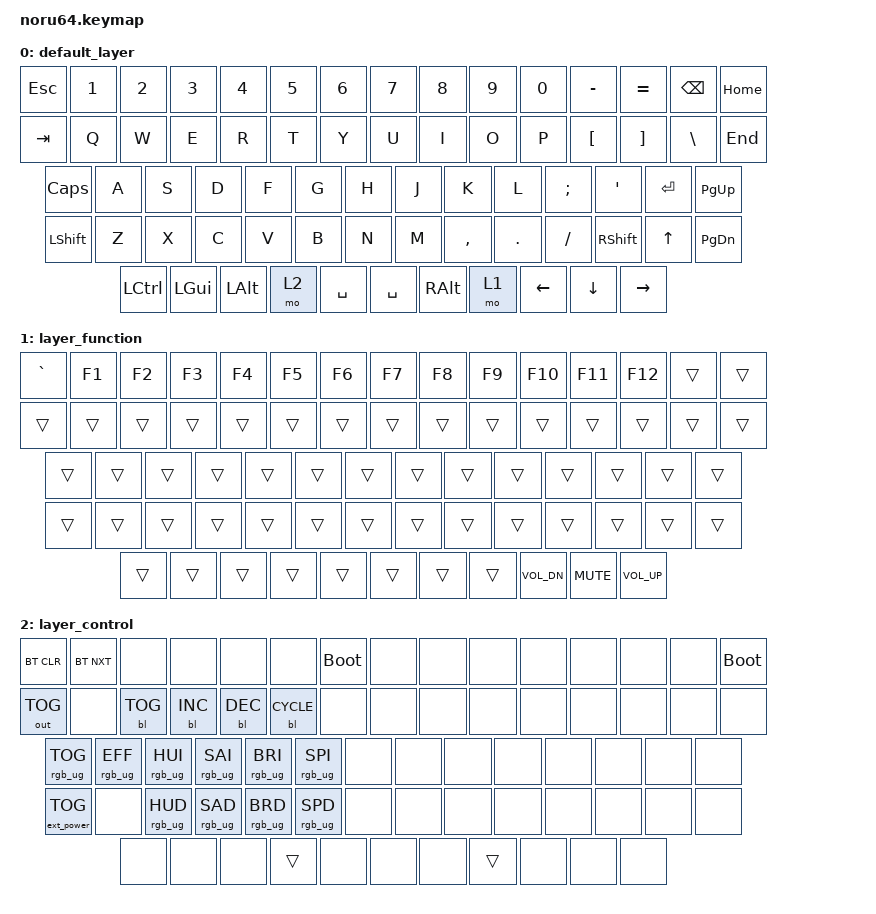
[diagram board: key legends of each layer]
/*
# Copyright (c) 2021 The ZMK Contributors
*
* SPDX-License-Identifier: MIT
*/

#include <behaviors.dtsi>
#include <dt-bindings/zmk/keys.h>
#include <dt-bindings/zmk/bt.h>
#include <dt-bindings/zmk/outputs.h>
#include <dt-bindings/zmk/backlight.h>
#include <dt-bindings/zmk/rgb.h>
#include <dt-bindings/zmk/ext_power.h>

/ {
    keymap {
        compatible = "zmk,keymap";


        default_layer {
            bindings = <
   &kp ESC    &kp N1    &kp N2  &kp N3  &kp N4  &kp N5     &kp N6  &kp N7     &kp N8     &kp N9    &kp N0  &kp MINUS  &kp EQUAL             &kp BSPC   &kp HOME
   &kp TAB     &kp Q     &kp W   &kp E   &kp R              &kp T   &kp Y      &kp U      &kp I     &kp O      &kp P   &kp LBKT   &kp RBKT  &kp BSLH    &kp END
  &kp CAPS     &kp A     &kp S   &kp D           &kp F      &kp G   &kp H      &kp J      &kp K     &kp L   &kp SEMI    &kp SQT              &kp RET  &kp PG_UP
 &kp LSHFT               &kp Z   &kp X   &kp C   &kp V      &kp B   &kp N      &kp M  &kp COMMA   &kp DOT              &kp FSLH  &kp RSHFT    &kp UP  &kp PG_DN
 &kp LCTRL  &kp LGUI  &kp LALT   &mo 2                  &kp SPACE          &kp SPACE             &kp RALT      &mo 1              &kp LEFT  &kp DOWN  &kp RIGHT
            >;
        };

        layer_function {
            bindings = <
 &kp GRAVE  &kp F1  &kp F2  &kp F3  &kp F4  &kp F5  &kp F6  &kp F7  &kp F8  &kp F9  &kp F10  &kp F11  &kp F12          &trans  &trans
    &trans  &trans  &trans  &trans   &trans           &trans   &trans   &trans   &trans    &trans    &trans    &trans   &trans  &trans  &trans
    &trans  &trans  &trans  &trans          &trans  &trans   &trans   &trans   &trans    &trans    &trans    &trans          &trans  &trans
    &trans          &trans  &trans  &trans  &trans  &trans   &trans   &trans   &trans    &trans             &trans  &trans  &trans  &trans
    &trans  &trans  &trans  &trans                  &trans          &trans           &trans   &trans           &kp C_VOL_DN  &kp C_MUTE  &kp C_VOL_UP
            >;
        };

        layer_control {
            bindings = <
        &bt BT_CLR       &bt BT_NXT            &none            &none            &none            &none      &bootloader   &none   &none   &none   &none   &none   &none           &none  &bootloader
      &out OUT_TOG            &none       &bl BL_TOG       &bl BL_INC       &bl BL_DEC                      &bl BL_CYCLE   &none   &none   &none   &none   &none   &none   &none   &none        &none
   &rgb_ug RGB_TOG  &rgb_ug RGB_EFF  &rgb_ug RGB_HUI  &rgb_ug RGB_SAI                   &rgb_ug RGB_BRI  &rgb_ug RGB_SPI   &none   &none   &none   &none   &none   &none           &none        &none
 &ext_power EP_TOG                             &none  &rgb_ug RGB_HUD  &rgb_ug RGB_SAD  &rgb_ug RGB_BRD  &rgb_ug RGB_SPD   &none   &none   &none   &none           &none   &none   &none        &none
             &none            &none            &none           &trans                                              &none           &none           &none  &trans           &none   &none        &none
            >;
        };

    };
};
